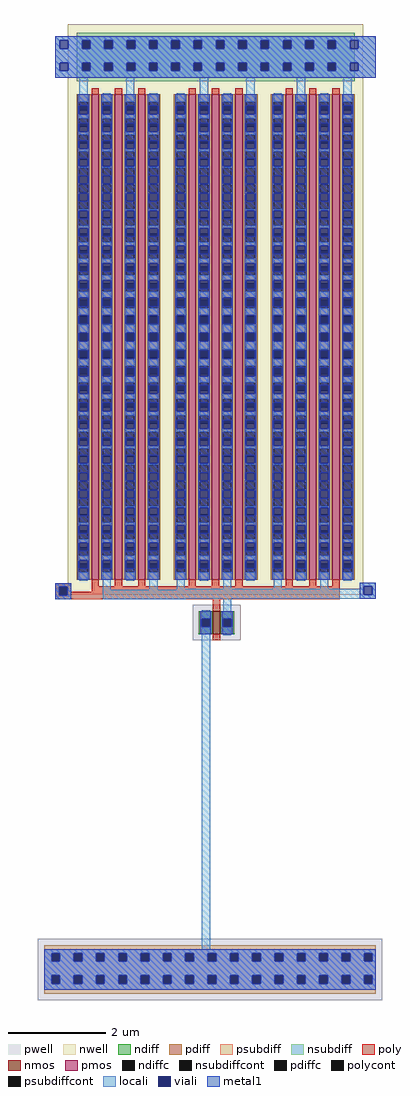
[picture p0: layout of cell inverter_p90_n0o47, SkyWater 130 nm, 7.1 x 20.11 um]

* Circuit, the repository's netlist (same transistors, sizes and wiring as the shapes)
* NGSPICE file created from inverter_p90_n0o47.ext - technology: sky130A

.subckt sky130_fd_pr__pfet_01v8_WGHLR5 a_n111_n1056# a_15_n1000# a_n173_n1000# a_111_n1000#
+ a_n81_n1000# w_n209_n1062#
X0 a_111_n1000# a_n111_n1056# a_15_n1000# w_n209_n1062# sky130_fd_pr__pfet_01v8 ad=3.1 pd=20.62 as=1.65 ps=10.33 w=10 l=0.15
X1 a_n81_n1000# a_n111_n1056# a_n173_n1000# w_n209_n1062# sky130_fd_pr__pfet_01v8 ad=1.65 pd=10.33 as=3.1 ps=20.62 w=10 l=0.15
X2 a_15_n1000# a_n111_n1056# a_n81_n1000# w_n209_n1062# sky130_fd_pr__pfet_01v8 ad=1.65 pd=10.33 as=1.65 ps=10.33 w=10 l=0.15
.ends

.subckt sky130_fd_pr__nfet_01v8_PD6K7A a_n73_n47# a_15_n47# a_n15_n73# VSUBS
X0 a_15_n47# a_n15_n73# a_n73_n47# VSUBS sky130_fd_pr__nfet_01v8 ad=0.1363 pd=1.52 as=0.1363 ps=1.52 w=0.47 l=0.15
.ends

.subckt inverter_p90_n0o47 VDPWR Vout Vin VGND
Xsky130_fd_pr__pfet_01v8_WGHLR5_0 Vin VDPWR VDPWR Vout Vout VDPWR sky130_fd_pr__pfet_01v8_WGHLR5
Xsky130_fd_pr__pfet_01v8_WGHLR5_1 Vin Vout Vout VDPWR VDPWR VDPWR sky130_fd_pr__pfet_01v8_WGHLR5
Xsky130_fd_pr__pfet_01v8_WGHLR5_2 Vin Vout Vout VDPWR VDPWR VDPWR sky130_fd_pr__pfet_01v8_WGHLR5
Xsky130_fd_pr__nfet_01v8_PD6K7A_0 VGND Vout Vin VGND sky130_fd_pr__nfet_01v8_PD6K7A
.ends

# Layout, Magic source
magic
tech sky130A
magscale 1 2
<< nwell >>
rect -540 2312 678 2540
rect -512 2286 648 2312
rect -492 2254 -458 2286
rect -300 2254 -266 2286
rect 4 2254 38 2286
rect 196 2254 230 2286
rect 404 2254 438 2286
rect 596 2254 630 2286
rect -592 198 -576 216
<< pwell >>
rect -664 -1482 756 -1230
<< psubdiff >>
rect -638 -1289 730 -1256
rect -638 -1323 -607 -1289
rect -573 -1323 -515 -1289
rect -481 -1323 -423 -1289
rect -389 -1323 -331 -1289
rect -297 -1323 -239 -1289
rect -205 -1323 -147 -1289
rect -113 -1323 -55 -1289
rect -21 -1323 37 -1289
rect 71 -1323 129 -1289
rect 163 -1323 221 -1289
rect 255 -1323 313 -1289
rect 347 -1323 405 -1289
rect 439 -1323 497 -1289
rect 531 -1323 589 -1289
rect 623 -1323 681 -1289
rect 715 -1323 730 -1289
rect -638 -1381 730 -1323
rect -638 -1415 -607 -1381
rect -573 -1415 -515 -1381
rect -481 -1415 -423 -1381
rect -389 -1415 -331 -1381
rect -297 -1415 -239 -1381
rect -205 -1415 -147 -1381
rect -113 -1415 -55 -1381
rect -21 -1415 37 -1381
rect 71 -1415 129 -1381
rect 163 -1415 221 -1381
rect 255 -1415 313 -1381
rect 347 -1415 405 -1381
rect 439 -1415 497 -1381
rect 531 -1415 589 -1381
rect 623 -1415 681 -1381
rect 715 -1415 730 -1381
rect -638 -1456 730 -1415
<< nsubdiff >>
rect -504 2473 642 2504
rect -504 2439 -481 2473
rect -447 2439 -389 2473
rect -355 2439 -297 2473
rect -263 2439 -205 2473
rect -171 2439 -113 2473
rect -79 2439 -21 2473
rect 13 2439 71 2473
rect 105 2439 163 2473
rect 197 2439 255 2473
rect 289 2439 347 2473
rect 381 2439 439 2473
rect 473 2439 531 2473
rect 565 2439 642 2473
rect -504 2381 642 2439
rect -504 2347 -481 2381
rect -447 2347 -389 2381
rect -355 2347 -297 2381
rect -263 2347 -205 2381
rect -171 2347 -113 2381
rect -79 2347 -21 2381
rect 13 2347 71 2381
rect 105 2347 163 2381
rect 197 2347 255 2381
rect 289 2347 347 2381
rect 381 2347 439 2381
rect 473 2347 531 2381
rect 565 2347 642 2381
rect -504 2304 642 2347
<< psubdiffcont >>
rect -607 -1323 -573 -1289
rect -515 -1323 -481 -1289
rect -423 -1323 -389 -1289
rect -331 -1323 -297 -1289
rect -239 -1323 -205 -1289
rect -147 -1323 -113 -1289
rect -55 -1323 -21 -1289
rect 37 -1323 71 -1289
rect 129 -1323 163 -1289
rect 221 -1323 255 -1289
rect 313 -1323 347 -1289
rect 405 -1323 439 -1289
rect 497 -1323 531 -1289
rect 589 -1323 623 -1289
rect 681 -1323 715 -1289
rect -607 -1415 -573 -1381
rect -515 -1415 -481 -1381
rect -423 -1415 -389 -1381
rect -331 -1415 -297 -1381
rect -239 -1415 -205 -1381
rect -147 -1415 -113 -1381
rect -55 -1415 -21 -1381
rect 37 -1415 71 -1381
rect 129 -1415 163 -1381
rect 221 -1415 255 -1381
rect 313 -1415 347 -1381
rect 405 -1415 439 -1381
rect 497 -1415 531 -1381
rect 589 -1415 623 -1381
rect 681 -1415 715 -1381
<< nsubdiffcont >>
rect -481 2439 -447 2473
rect -389 2439 -355 2473
rect -297 2439 -263 2473
rect -205 2439 -171 2473
rect -113 2439 -79 2473
rect -21 2439 13 2473
rect 71 2439 105 2473
rect 163 2439 197 2473
rect 255 2439 289 2473
rect 347 2439 381 2473
rect 439 2439 473 2473
rect 531 2439 565 2473
rect -481 2347 -447 2381
rect -389 2347 -355 2381
rect -297 2347 -263 2381
rect -205 2347 -171 2381
rect -113 2347 -79 2381
rect -21 2347 13 2381
rect 71 2347 105 2381
rect 163 2347 197 2381
rect 255 2347 289 2381
rect 347 2347 381 2381
rect 439 2347 473 2381
rect 531 2347 565 2381
<< poly >>
rect -592 220 -526 236
rect -592 186 -576 220
rect -542 200 -526 220
rect -542 194 -394 200
rect -220 194 -42 224
rect 180 194 358 224
rect -542 186 580 194
rect -592 170 580 186
rect 58 146 88 170
<< polycont >>
rect -576 186 -542 220
<< locali >>
rect -592 2473 730 2490
rect -592 2439 -573 2473
rect -539 2439 -481 2473
rect -447 2439 -389 2473
rect -355 2439 -297 2473
rect -263 2439 -205 2473
rect -171 2439 -113 2473
rect -79 2439 -21 2473
rect 13 2439 71 2473
rect 105 2439 163 2473
rect 197 2439 255 2473
rect 289 2439 347 2473
rect 381 2439 439 2473
rect 473 2439 531 2473
rect 565 2439 623 2473
rect 657 2439 730 2473
rect -592 2381 730 2439
rect -592 2347 -573 2381
rect -539 2347 -481 2381
rect -447 2347 -389 2381
rect -355 2347 -297 2381
rect -263 2347 -205 2381
rect -171 2347 -113 2381
rect -79 2347 -21 2381
rect 13 2347 71 2381
rect 105 2347 163 2381
rect 197 2347 255 2381
rect 289 2347 347 2381
rect 381 2347 439 2381
rect 473 2347 531 2381
rect 565 2347 623 2381
rect 657 2347 730 2381
rect -592 2318 730 2347
rect -492 2254 -458 2318
rect -300 2254 -266 2318
rect 4 2254 38 2318
rect 196 2254 230 2318
rect 404 2254 438 2318
rect 596 2254 630 2318
rect -592 220 -526 236
rect -592 186 -576 220
rect -542 186 -526 220
rect -592 170 -526 186
rect -396 208 -362 246
rect -204 208 -170 246
rect -92 212 -58 246
rect 100 212 134 246
rect 308 212 342 246
rect 500 212 534 246
rect 664 222 730 238
rect 664 212 680 222
rect -92 208 680 212
rect -396 188 680 208
rect 714 188 730 222
rect -396 172 730 188
rect -396 170 -54 172
rect 100 124 134 172
rect 12 -1272 46 22
rect -638 -1289 730 -1272
rect -638 -1323 -607 -1289
rect -573 -1323 -515 -1289
rect -481 -1323 -423 -1289
rect -389 -1323 -331 -1289
rect -297 -1323 -239 -1289
rect -205 -1323 -147 -1289
rect -113 -1323 -55 -1289
rect -21 -1323 37 -1289
rect 71 -1323 129 -1289
rect 163 -1323 221 -1289
rect 255 -1323 313 -1289
rect 347 -1323 405 -1289
rect 439 -1323 497 -1289
rect 531 -1323 589 -1289
rect 623 -1323 681 -1289
rect 715 -1323 730 -1289
rect -638 -1381 730 -1323
rect -638 -1415 -607 -1381
rect -573 -1415 -515 -1381
rect -481 -1415 -423 -1381
rect -389 -1415 -331 -1381
rect -297 -1415 -239 -1381
rect -205 -1415 -147 -1381
rect -113 -1415 -55 -1381
rect -21 -1415 37 -1381
rect 71 -1415 129 -1381
rect 163 -1415 221 -1381
rect 255 -1415 313 -1381
rect 347 -1415 405 -1381
rect 439 -1415 497 -1381
rect 531 -1415 589 -1381
rect 623 -1415 681 -1381
rect 715 -1415 730 -1381
rect -638 -1440 730 -1415
<< viali >>
rect -573 2439 -539 2473
rect -481 2439 -447 2473
rect -389 2439 -355 2473
rect -297 2439 -263 2473
rect -205 2439 -171 2473
rect -113 2439 -79 2473
rect -21 2439 13 2473
rect 71 2439 105 2473
rect 163 2439 197 2473
rect 255 2439 289 2473
rect 347 2439 381 2473
rect 439 2439 473 2473
rect 531 2439 565 2473
rect 623 2439 657 2473
rect -573 2347 -539 2381
rect -481 2347 -447 2381
rect -389 2347 -355 2381
rect -297 2347 -263 2381
rect -205 2347 -171 2381
rect -113 2347 -79 2381
rect -21 2347 13 2381
rect 71 2347 105 2381
rect 163 2347 197 2381
rect 255 2347 289 2381
rect 347 2347 381 2381
rect 439 2347 473 2381
rect 531 2347 565 2381
rect 623 2347 657 2381
rect -576 186 -542 220
rect 680 188 714 222
rect -607 -1323 -573 -1289
rect -515 -1323 -481 -1289
rect -423 -1323 -389 -1289
rect -331 -1323 -297 -1289
rect -239 -1323 -205 -1289
rect -147 -1323 -113 -1289
rect -55 -1323 -21 -1289
rect 37 -1323 71 -1289
rect 129 -1323 163 -1289
rect 221 -1323 255 -1289
rect 313 -1323 347 -1289
rect 405 -1323 439 -1289
rect 497 -1323 531 -1289
rect 589 -1323 623 -1289
rect 681 -1323 715 -1289
rect -607 -1415 -573 -1381
rect -515 -1415 -481 -1381
rect -423 -1415 -389 -1381
rect -331 -1415 -297 -1381
rect -239 -1415 -205 -1381
rect -147 -1415 -113 -1381
rect -55 -1415 -21 -1381
rect 37 -1415 71 -1381
rect 129 -1415 163 -1381
rect 221 -1415 255 -1381
rect 313 -1415 347 -1381
rect 405 -1415 439 -1381
rect 497 -1415 531 -1381
rect 589 -1415 623 -1381
rect 681 -1415 715 -1381
<< metal1 >>
rect -592 2473 730 2490
rect -592 2439 -573 2473
rect -539 2439 -481 2473
rect -447 2439 -389 2473
rect -355 2439 -297 2473
rect -263 2439 -205 2473
rect -171 2439 -113 2473
rect -79 2439 -21 2473
rect 13 2439 71 2473
rect 105 2439 163 2473
rect 197 2439 255 2473
rect 289 2439 347 2473
rect 381 2439 439 2473
rect 473 2439 531 2473
rect 565 2439 623 2473
rect 657 2439 730 2473
rect -592 2381 730 2439
rect -592 2347 -573 2381
rect -539 2347 -481 2381
rect -447 2347 -389 2381
rect -355 2347 -297 2381
rect -263 2347 -205 2381
rect -171 2347 -113 2381
rect -79 2347 -21 2381
rect 13 2347 71 2381
rect 105 2347 163 2381
rect 197 2347 255 2381
rect 289 2347 347 2381
rect 381 2347 439 2381
rect 473 2347 531 2381
rect 565 2347 623 2381
rect 657 2347 730 2381
rect -592 2318 730 2347
rect -592 220 -526 236
rect -592 186 -576 220
rect -542 186 -526 220
rect -592 170 -526 186
rect 664 222 730 238
rect 664 188 680 222
rect 714 188 730 222
rect 664 172 730 188
rect -638 -1289 730 -1272
rect -638 -1323 -607 -1289
rect -573 -1323 -515 -1289
rect -481 -1323 -423 -1289
rect -389 -1323 -331 -1289
rect -297 -1323 -239 -1289
rect -205 -1323 -147 -1289
rect -113 -1323 -55 -1289
rect -21 -1323 37 -1289
rect 71 -1323 129 -1289
rect 163 -1323 221 -1289
rect 255 -1323 313 -1289
rect 347 -1323 405 -1289
rect 439 -1323 497 -1289
rect 531 -1323 589 -1289
rect 623 -1323 681 -1289
rect 715 -1323 730 -1289
rect -638 -1381 730 -1323
rect -638 -1415 -607 -1381
rect -573 -1415 -515 -1381
rect -481 -1415 -423 -1381
rect -389 -1415 -331 -1381
rect -297 -1415 -239 -1381
rect -205 -1415 -147 -1381
rect -113 -1415 -55 -1381
rect -21 -1415 37 -1381
rect 71 -1415 129 -1381
rect 163 -1415 221 -1381
rect 255 -1415 313 -1381
rect 347 -1415 405 -1381
rect 439 -1415 497 -1381
rect 531 -1415 589 -1381
rect 623 -1415 681 -1381
rect 715 -1415 730 -1381
rect -638 -1440 730 -1415
use sky130_fd_pr__nfet_01v8_PD6K7A  sky130_fd_pr__nfet_01v8_PD6K7A_0
transform 1 0 73 0 1 73
box -99 -73 99 73
use sky130_fd_pr__pfet_01v8_WGHLR5  sky130_fd_pr__pfet_01v8_WGHLR5_0
transform 1 0 -331 0 1 1250
box -209 -1062 209 1062
use sky130_fd_pr__pfet_01v8_WGHLR5  sky130_fd_pr__pfet_01v8_WGHLR5_1
transform 1 0 69 0 1 1250
box -209 -1062 209 1062
use sky130_fd_pr__pfet_01v8_WGHLR5  sky130_fd_pr__pfet_01v8_WGHLR5_2
transform 1 0 469 0 1 1250
box -209 -1062 209 1062
<< end >>

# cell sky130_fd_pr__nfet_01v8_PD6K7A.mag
magic
tech sky130A
magscale 1 2
<< pwell >>
rect -99 -73 99 73
<< nmos >>
rect -15 -47 15 47
<< ndiff >>
rect -73 17 -15 47
rect -73 -17 -61 17
rect -27 -17 -15 17
rect -73 -47 -15 -17
rect 15 17 73 47
rect 15 -17 27 17
rect 61 -17 73 17
rect 15 -47 73 -17
<< ndiffc >>
rect -61 -17 -27 17
rect 27 -17 61 17
<< poly >>
rect -15 47 15 73
rect -15 -73 15 -47
<< locali >>
rect -61 17 -27 51
rect -61 -51 -27 -17
rect 27 17 61 51
rect 27 -51 61 -17
<< viali >>
rect -61 -17 -27 17
rect 27 -17 61 17
<< metal1 >>
rect -67 17 -21 47
rect -67 -17 -61 17
rect -27 -17 -21 17
rect -67 -47 -21 -17
rect 21 17 67 47
rect 21 -17 27 17
rect 61 -17 67 17
rect 21 -47 67 -17
<< end >>

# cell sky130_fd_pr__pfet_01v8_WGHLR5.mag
magic
tech sky130A
magscale 1 2
<< nwell >>
rect -209 -1062 209 1062
<< pmos >>
rect -111 -1000 -81 1000
rect -15 -1000 15 1000
rect 81 -1000 111 1000
<< pdiff >>
rect -173 969 -111 1000
rect -173 935 -161 969
rect -127 935 -111 969
rect -173 901 -111 935
rect -173 867 -161 901
rect -127 867 -111 901
rect -173 833 -111 867
rect -173 799 -161 833
rect -127 799 -111 833
rect -173 765 -111 799
rect -173 731 -161 765
rect -127 731 -111 765
rect -173 697 -111 731
rect -173 663 -161 697
rect -127 663 -111 697
rect -173 629 -111 663
rect -173 595 -161 629
rect -127 595 -111 629
rect -173 561 -111 595
rect -173 527 -161 561
rect -127 527 -111 561
rect -173 493 -111 527
rect -173 459 -161 493
rect -127 459 -111 493
rect -173 425 -111 459
rect -173 391 -161 425
rect -127 391 -111 425
rect -173 357 -111 391
rect -173 323 -161 357
rect -127 323 -111 357
rect -173 289 -111 323
rect -173 255 -161 289
rect -127 255 -111 289
rect -173 221 -111 255
rect -173 187 -161 221
rect -127 187 -111 221
rect -173 153 -111 187
rect -173 119 -161 153
rect -127 119 -111 153
rect -173 85 -111 119
rect -173 51 -161 85
rect -127 51 -111 85
rect -173 17 -111 51
rect -173 -17 -161 17
rect -127 -17 -111 17
rect -173 -51 -111 -17
rect -173 -85 -161 -51
rect -127 -85 -111 -51
rect -173 -119 -111 -85
rect -173 -153 -161 -119
rect -127 -153 -111 -119
rect -173 -187 -111 -153
rect -173 -221 -161 -187
rect -127 -221 -111 -187
rect -173 -255 -111 -221
rect -173 -289 -161 -255
rect -127 -289 -111 -255
rect -173 -323 -111 -289
rect -173 -357 -161 -323
rect -127 -357 -111 -323
rect -173 -391 -111 -357
rect -173 -425 -161 -391
rect -127 -425 -111 -391
rect -173 -459 -111 -425
rect -173 -493 -161 -459
rect -127 -493 -111 -459
rect -173 -527 -111 -493
rect -173 -561 -161 -527
rect -127 -561 -111 -527
rect -173 -595 -111 -561
rect -173 -629 -161 -595
rect -127 -629 -111 -595
rect -173 -663 -111 -629
rect -173 -697 -161 -663
rect -127 -697 -111 -663
rect -173 -731 -111 -697
rect -173 -765 -161 -731
rect -127 -765 -111 -731
rect -173 -799 -111 -765
rect -173 -833 -161 -799
rect -127 -833 -111 -799
rect -173 -867 -111 -833
rect -173 -901 -161 -867
rect -127 -901 -111 -867
rect -173 -935 -111 -901
rect -173 -969 -161 -935
rect -127 -969 -111 -935
rect -173 -1000 -111 -969
rect -81 969 -15 1000
rect -81 935 -65 969
rect -31 935 -15 969
rect -81 901 -15 935
rect -81 867 -65 901
rect -31 867 -15 901
rect -81 833 -15 867
rect -81 799 -65 833
rect -31 799 -15 833
rect -81 765 -15 799
rect -81 731 -65 765
rect -31 731 -15 765
rect -81 697 -15 731
rect -81 663 -65 697
rect -31 663 -15 697
rect -81 629 -15 663
rect -81 595 -65 629
rect -31 595 -15 629
rect -81 561 -15 595
rect -81 527 -65 561
rect -31 527 -15 561
rect -81 493 -15 527
rect -81 459 -65 493
rect -31 459 -15 493
rect -81 425 -15 459
rect -81 391 -65 425
rect -31 391 -15 425
rect -81 357 -15 391
rect -81 323 -65 357
rect -31 323 -15 357
rect -81 289 -15 323
rect -81 255 -65 289
rect -31 255 -15 289
rect -81 221 -15 255
rect -81 187 -65 221
rect -31 187 -15 221
rect -81 153 -15 187
rect -81 119 -65 153
rect -31 119 -15 153
rect -81 85 -15 119
rect -81 51 -65 85
rect -31 51 -15 85
rect -81 17 -15 51
rect -81 -17 -65 17
rect -31 -17 -15 17
rect -81 -51 -15 -17
rect -81 -85 -65 -51
rect -31 -85 -15 -51
rect -81 -119 -15 -85
rect -81 -153 -65 -119
rect -31 -153 -15 -119
rect -81 -187 -15 -153
rect -81 -221 -65 -187
rect -31 -221 -15 -187
rect -81 -255 -15 -221
rect -81 -289 -65 -255
rect -31 -289 -15 -255
rect -81 -323 -15 -289
rect -81 -357 -65 -323
rect -31 -357 -15 -323
rect -81 -391 -15 -357
rect -81 -425 -65 -391
rect -31 -425 -15 -391
rect -81 -459 -15 -425
rect -81 -493 -65 -459
rect -31 -493 -15 -459
rect -81 -527 -15 -493
rect -81 -561 -65 -527
rect -31 -561 -15 -527
rect -81 -595 -15 -561
rect -81 -629 -65 -595
rect -31 -629 -15 -595
rect -81 -663 -15 -629
rect -81 -697 -65 -663
rect -31 -697 -15 -663
rect -81 -731 -15 -697
rect -81 -765 -65 -731
rect -31 -765 -15 -731
rect -81 -799 -15 -765
rect -81 -833 -65 -799
rect -31 -833 -15 -799
rect -81 -867 -15 -833
rect -81 -901 -65 -867
rect -31 -901 -15 -867
rect -81 -935 -15 -901
rect -81 -969 -65 -935
rect -31 -969 -15 -935
rect -81 -1000 -15 -969
rect 15 969 81 1000
rect 15 935 31 969
rect 65 935 81 969
rect 15 901 81 935
rect 15 867 31 901
rect 65 867 81 901
rect 15 833 81 867
rect 15 799 31 833
rect 65 799 81 833
rect 15 765 81 799
rect 15 731 31 765
rect 65 731 81 765
rect 15 697 81 731
rect 15 663 31 697
rect 65 663 81 697
rect 15 629 81 663
rect 15 595 31 629
rect 65 595 81 629
rect 15 561 81 595
rect 15 527 31 561
rect 65 527 81 561
rect 15 493 81 527
rect 15 459 31 493
rect 65 459 81 493
rect 15 425 81 459
rect 15 391 31 425
rect 65 391 81 425
rect 15 357 81 391
rect 15 323 31 357
rect 65 323 81 357
rect 15 289 81 323
rect 15 255 31 289
rect 65 255 81 289
rect 15 221 81 255
rect 15 187 31 221
rect 65 187 81 221
rect 15 153 81 187
rect 15 119 31 153
rect 65 119 81 153
rect 15 85 81 119
rect 15 51 31 85
rect 65 51 81 85
rect 15 17 81 51
rect 15 -17 31 17
rect 65 -17 81 17
rect 15 -51 81 -17
rect 15 -85 31 -51
rect 65 -85 81 -51
rect 15 -119 81 -85
rect 15 -153 31 -119
rect 65 -153 81 -119
rect 15 -187 81 -153
rect 15 -221 31 -187
rect 65 -221 81 -187
rect 15 -255 81 -221
rect 15 -289 31 -255
rect 65 -289 81 -255
rect 15 -323 81 -289
rect 15 -357 31 -323
rect 65 -357 81 -323
rect 15 -391 81 -357
rect 15 -425 31 -391
rect 65 -425 81 -391
rect 15 -459 81 -425
rect 15 -493 31 -459
rect 65 -493 81 -459
rect 15 -527 81 -493
rect 15 -561 31 -527
rect 65 -561 81 -527
rect 15 -595 81 -561
rect 15 -629 31 -595
rect 65 -629 81 -595
rect 15 -663 81 -629
rect 15 -697 31 -663
rect 65 -697 81 -663
rect 15 -731 81 -697
rect 15 -765 31 -731
rect 65 -765 81 -731
rect 15 -799 81 -765
rect 15 -833 31 -799
rect 65 -833 81 -799
rect 15 -867 81 -833
rect 15 -901 31 -867
rect 65 -901 81 -867
rect 15 -935 81 -901
rect 15 -969 31 -935
rect 65 -969 81 -935
rect 15 -1000 81 -969
rect 111 969 173 1000
rect 111 935 127 969
rect 161 935 173 969
rect 111 901 173 935
rect 111 867 127 901
rect 161 867 173 901
rect 111 833 173 867
rect 111 799 127 833
rect 161 799 173 833
rect 111 765 173 799
rect 111 731 127 765
rect 161 731 173 765
rect 111 697 173 731
rect 111 663 127 697
rect 161 663 173 697
rect 111 629 173 663
rect 111 595 127 629
rect 161 595 173 629
rect 111 561 173 595
rect 111 527 127 561
rect 161 527 173 561
rect 111 493 173 527
rect 111 459 127 493
rect 161 459 173 493
rect 111 425 173 459
rect 111 391 127 425
rect 161 391 173 425
rect 111 357 173 391
rect 111 323 127 357
rect 161 323 173 357
rect 111 289 173 323
rect 111 255 127 289
rect 161 255 173 289
rect 111 221 173 255
rect 111 187 127 221
rect 161 187 173 221
rect 111 153 173 187
rect 111 119 127 153
rect 161 119 173 153
rect 111 85 173 119
rect 111 51 127 85
rect 161 51 173 85
rect 111 17 173 51
rect 111 -17 127 17
rect 161 -17 173 17
rect 111 -51 173 -17
rect 111 -85 127 -51
rect 161 -85 173 -51
rect 111 -119 173 -85
rect 111 -153 127 -119
rect 161 -153 173 -119
rect 111 -187 173 -153
rect 111 -221 127 -187
rect 161 -221 173 -187
rect 111 -255 173 -221
rect 111 -289 127 -255
rect 161 -289 173 -255
rect 111 -323 173 -289
rect 111 -357 127 -323
rect 161 -357 173 -323
rect 111 -391 173 -357
rect 111 -425 127 -391
rect 161 -425 173 -391
rect 111 -459 173 -425
rect 111 -493 127 -459
rect 161 -493 173 -459
rect 111 -527 173 -493
rect 111 -561 127 -527
rect 161 -561 173 -527
rect 111 -595 173 -561
rect 111 -629 127 -595
rect 161 -629 173 -595
rect 111 -663 173 -629
rect 111 -697 127 -663
rect 161 -697 173 -663
rect 111 -731 173 -697
rect 111 -765 127 -731
rect 161 -765 173 -731
rect 111 -799 173 -765
rect 111 -833 127 -799
rect 161 -833 173 -799
rect 111 -867 173 -833
rect 111 -901 127 -867
rect 161 -901 173 -867
rect 111 -935 173 -901
rect 111 -969 127 -935
rect 161 -969 173 -935
rect 111 -1000 173 -969
<< pdiffc >>
rect -161 935 -127 969
rect -161 867 -127 901
rect -161 799 -127 833
rect -161 731 -127 765
rect -161 663 -127 697
rect -161 595 -127 629
rect -161 527 -127 561
rect -161 459 -127 493
rect -161 391 -127 425
rect -161 323 -127 357
rect -161 255 -127 289
rect -161 187 -127 221
rect -161 119 -127 153
rect -161 51 -127 85
rect -161 -17 -127 17
rect -161 -85 -127 -51
rect -161 -153 -127 -119
rect -161 -221 -127 -187
rect -161 -289 -127 -255
rect -161 -357 -127 -323
rect -161 -425 -127 -391
rect -161 -493 -127 -459
rect -161 -561 -127 -527
rect -161 -629 -127 -595
rect -161 -697 -127 -663
rect -161 -765 -127 -731
rect -161 -833 -127 -799
rect -161 -901 -127 -867
rect -161 -969 -127 -935
rect -65 935 -31 969
rect -65 867 -31 901
rect -65 799 -31 833
rect -65 731 -31 765
rect -65 663 -31 697
rect -65 595 -31 629
rect -65 527 -31 561
rect -65 459 -31 493
rect -65 391 -31 425
rect -65 323 -31 357
rect -65 255 -31 289
rect -65 187 -31 221
rect -65 119 -31 153
rect -65 51 -31 85
rect -65 -17 -31 17
rect -65 -85 -31 -51
rect -65 -153 -31 -119
rect -65 -221 -31 -187
rect -65 -289 -31 -255
rect -65 -357 -31 -323
rect -65 -425 -31 -391
rect -65 -493 -31 -459
rect -65 -561 -31 -527
rect -65 -629 -31 -595
rect -65 -697 -31 -663
rect -65 -765 -31 -731
rect -65 -833 -31 -799
rect -65 -901 -31 -867
rect -65 -969 -31 -935
rect 31 935 65 969
rect 31 867 65 901
rect 31 799 65 833
rect 31 731 65 765
rect 31 663 65 697
rect 31 595 65 629
rect 31 527 65 561
rect 31 459 65 493
rect 31 391 65 425
rect 31 323 65 357
rect 31 255 65 289
rect 31 187 65 221
rect 31 119 65 153
rect 31 51 65 85
rect 31 -17 65 17
rect 31 -85 65 -51
rect 31 -153 65 -119
rect 31 -221 65 -187
rect 31 -289 65 -255
rect 31 -357 65 -323
rect 31 -425 65 -391
rect 31 -493 65 -459
rect 31 -561 65 -527
rect 31 -629 65 -595
rect 31 -697 65 -663
rect 31 -765 65 -731
rect 31 -833 65 -799
rect 31 -901 65 -867
rect 31 -969 65 -935
rect 127 935 161 969
rect 127 867 161 901
rect 127 799 161 833
rect 127 731 161 765
rect 127 663 161 697
rect 127 595 161 629
rect 127 527 161 561
rect 127 459 161 493
rect 127 391 161 425
rect 127 323 161 357
rect 127 255 161 289
rect 127 187 161 221
rect 127 119 161 153
rect 127 51 161 85
rect 127 -17 161 17
rect 127 -85 161 -51
rect 127 -153 161 -119
rect 127 -221 161 -187
rect 127 -289 161 -255
rect 127 -357 161 -323
rect 127 -425 161 -391
rect 127 -493 161 -459
rect 127 -561 161 -527
rect 127 -629 161 -595
rect 127 -697 161 -663
rect 127 -765 161 -731
rect 127 -833 161 -799
rect 127 -901 161 -867
rect 127 -969 161 -935
<< poly >>
rect -111 1000 -81 1026
rect -15 1000 15 1026
rect 81 1000 111 1026
rect -111 -1026 -81 -1000
rect -15 -1026 15 -1000
rect 81 -1026 111 -1000
rect -111 -1056 111 -1026
<< locali >>
rect -161 969 -127 1004
rect -161 901 -127 919
rect -161 833 -127 847
rect -161 765 -127 775
rect -161 697 -127 703
rect -161 629 -127 631
rect -161 593 -127 595
rect -161 521 -127 527
rect -161 449 -127 459
rect -161 377 -127 391
rect -161 305 -127 323
rect -161 233 -127 255
rect -161 161 -127 187
rect -161 89 -127 119
rect -161 17 -127 51
rect -161 -51 -127 -17
rect -161 -119 -127 -89
rect -161 -187 -127 -161
rect -161 -255 -127 -233
rect -161 -323 -127 -305
rect -161 -391 -127 -377
rect -161 -459 -127 -449
rect -161 -527 -127 -521
rect -161 -595 -127 -593
rect -161 -631 -127 -629
rect -161 -703 -127 -697
rect -161 -775 -127 -765
rect -161 -847 -127 -833
rect -161 -919 -127 -901
rect -161 -1004 -127 -969
rect -65 969 -31 1004
rect -65 901 -31 919
rect -65 833 -31 847
rect -65 765 -31 775
rect -65 697 -31 703
rect -65 629 -31 631
rect -65 593 -31 595
rect -65 521 -31 527
rect -65 449 -31 459
rect -65 377 -31 391
rect -65 305 -31 323
rect -65 233 -31 255
rect -65 161 -31 187
rect -65 89 -31 119
rect -65 17 -31 51
rect -65 -51 -31 -17
rect -65 -119 -31 -89
rect -65 -187 -31 -161
rect -65 -255 -31 -233
rect -65 -323 -31 -305
rect -65 -391 -31 -377
rect -65 -459 -31 -449
rect -65 -527 -31 -521
rect -65 -595 -31 -593
rect -65 -631 -31 -629
rect -65 -703 -31 -697
rect -65 -775 -31 -765
rect -65 -847 -31 -833
rect -65 -919 -31 -901
rect -65 -1004 -31 -969
rect 31 969 65 1004
rect 31 901 65 919
rect 31 833 65 847
rect 31 765 65 775
rect 31 697 65 703
rect 31 629 65 631
rect 31 593 65 595
rect 31 521 65 527
rect 31 449 65 459
rect 31 377 65 391
rect 31 305 65 323
rect 31 233 65 255
rect 31 161 65 187
rect 31 89 65 119
rect 31 17 65 51
rect 31 -51 65 -17
rect 31 -119 65 -89
rect 31 -187 65 -161
rect 31 -255 65 -233
rect 31 -323 65 -305
rect 31 -391 65 -377
rect 31 -459 65 -449
rect 31 -527 65 -521
rect 31 -595 65 -593
rect 31 -631 65 -629
rect 31 -703 65 -697
rect 31 -775 65 -765
rect 31 -847 65 -833
rect 31 -919 65 -901
rect 31 -1004 65 -969
rect 127 969 161 1004
rect 127 901 161 919
rect 127 833 161 847
rect 127 765 161 775
rect 127 697 161 703
rect 127 629 161 631
rect 127 593 161 595
rect 127 521 161 527
rect 127 449 161 459
rect 127 377 161 391
rect 127 305 161 323
rect 127 233 161 255
rect 127 161 161 187
rect 127 89 161 119
rect 127 17 161 51
rect 127 -51 161 -17
rect 127 -119 161 -89
rect 127 -187 161 -161
rect 127 -255 161 -233
rect 127 -323 161 -305
rect 127 -391 161 -377
rect 127 -459 161 -449
rect 127 -527 161 -521
rect 127 -595 161 -593
rect 127 -631 161 -629
rect 127 -703 161 -697
rect 127 -775 161 -765
rect 127 -847 161 -833
rect 127 -919 161 -901
rect 127 -1004 161 -969
<< viali >>
rect -161 935 -127 953
rect -161 919 -127 935
rect -161 867 -127 881
rect -161 847 -127 867
rect -161 799 -127 809
rect -161 775 -127 799
rect -161 731 -127 737
rect -161 703 -127 731
rect -161 663 -127 665
rect -161 631 -127 663
rect -161 561 -127 593
rect -161 559 -127 561
rect -161 493 -127 521
rect -161 487 -127 493
rect -161 425 -127 449
rect -161 415 -127 425
rect -161 357 -127 377
rect -161 343 -127 357
rect -161 289 -127 305
rect -161 271 -127 289
rect -161 221 -127 233
rect -161 199 -127 221
rect -161 153 -127 161
rect -161 127 -127 153
rect -161 85 -127 89
rect -161 55 -127 85
rect -161 -17 -127 17
rect -161 -85 -127 -55
rect -161 -89 -127 -85
rect -161 -153 -127 -127
rect -161 -161 -127 -153
rect -161 -221 -127 -199
rect -161 -233 -127 -221
rect -161 -289 -127 -271
rect -161 -305 -127 -289
rect -161 -357 -127 -343
rect -161 -377 -127 -357
rect -161 -425 -127 -415
rect -161 -449 -127 -425
rect -161 -493 -127 -487
rect -161 -521 -127 -493
rect -161 -561 -127 -559
rect -161 -593 -127 -561
rect -161 -663 -127 -631
rect -161 -665 -127 -663
rect -161 -731 -127 -703
rect -161 -737 -127 -731
rect -161 -799 -127 -775
rect -161 -809 -127 -799
rect -161 -867 -127 -847
rect -161 -881 -127 -867
rect -161 -935 -127 -919
rect -161 -953 -127 -935
rect -65 935 -31 953
rect -65 919 -31 935
rect -65 867 -31 881
rect -65 847 -31 867
rect -65 799 -31 809
rect -65 775 -31 799
rect -65 731 -31 737
rect -65 703 -31 731
rect -65 663 -31 665
rect -65 631 -31 663
rect -65 561 -31 593
rect -65 559 -31 561
rect -65 493 -31 521
rect -65 487 -31 493
rect -65 425 -31 449
rect -65 415 -31 425
rect -65 357 -31 377
rect -65 343 -31 357
rect -65 289 -31 305
rect -65 271 -31 289
rect -65 221 -31 233
rect -65 199 -31 221
rect -65 153 -31 161
rect -65 127 -31 153
rect -65 85 -31 89
rect -65 55 -31 85
rect -65 -17 -31 17
rect -65 -85 -31 -55
rect -65 -89 -31 -85
rect -65 -153 -31 -127
rect -65 -161 -31 -153
rect -65 -221 -31 -199
rect -65 -233 -31 -221
rect -65 -289 -31 -271
rect -65 -305 -31 -289
rect -65 -357 -31 -343
rect -65 -377 -31 -357
rect -65 -425 -31 -415
rect -65 -449 -31 -425
rect -65 -493 -31 -487
rect -65 -521 -31 -493
rect -65 -561 -31 -559
rect -65 -593 -31 -561
rect -65 -663 -31 -631
rect -65 -665 -31 -663
rect -65 -731 -31 -703
rect -65 -737 -31 -731
rect -65 -799 -31 -775
rect -65 -809 -31 -799
rect -65 -867 -31 -847
rect -65 -881 -31 -867
rect -65 -935 -31 -919
rect -65 -953 -31 -935
rect 31 935 65 953
rect 31 919 65 935
rect 31 867 65 881
rect 31 847 65 867
rect 31 799 65 809
rect 31 775 65 799
rect 31 731 65 737
rect 31 703 65 731
rect 31 663 65 665
rect 31 631 65 663
rect 31 561 65 593
rect 31 559 65 561
rect 31 493 65 521
rect 31 487 65 493
rect 31 425 65 449
rect 31 415 65 425
rect 31 357 65 377
rect 31 343 65 357
rect 31 289 65 305
rect 31 271 65 289
rect 31 221 65 233
rect 31 199 65 221
rect 31 153 65 161
rect 31 127 65 153
rect 31 85 65 89
rect 31 55 65 85
rect 31 -17 65 17
rect 31 -85 65 -55
rect 31 -89 65 -85
rect 31 -153 65 -127
rect 31 -161 65 -153
rect 31 -221 65 -199
rect 31 -233 65 -221
rect 31 -289 65 -271
rect 31 -305 65 -289
rect 31 -357 65 -343
rect 31 -377 65 -357
rect 31 -425 65 -415
rect 31 -449 65 -425
rect 31 -493 65 -487
rect 31 -521 65 -493
rect 31 -561 65 -559
rect 31 -593 65 -561
rect 31 -663 65 -631
rect 31 -665 65 -663
rect 31 -731 65 -703
rect 31 -737 65 -731
rect 31 -799 65 -775
rect 31 -809 65 -799
rect 31 -867 65 -847
rect 31 -881 65 -867
rect 31 -935 65 -919
rect 31 -953 65 -935
rect 127 935 161 953
rect 127 919 161 935
rect 127 867 161 881
rect 127 847 161 867
rect 127 799 161 809
rect 127 775 161 799
rect 127 731 161 737
rect 127 703 161 731
rect 127 663 161 665
rect 127 631 161 663
rect 127 561 161 593
rect 127 559 161 561
rect 127 493 161 521
rect 127 487 161 493
rect 127 425 161 449
rect 127 415 161 425
rect 127 357 161 377
rect 127 343 161 357
rect 127 289 161 305
rect 127 271 161 289
rect 127 221 161 233
rect 127 199 161 221
rect 127 153 161 161
rect 127 127 161 153
rect 127 85 161 89
rect 127 55 161 85
rect 127 -17 161 17
rect 127 -85 161 -55
rect 127 -89 161 -85
rect 127 -153 161 -127
rect 127 -161 161 -153
rect 127 -221 161 -199
rect 127 -233 161 -221
rect 127 -289 161 -271
rect 127 -305 161 -289
rect 127 -357 161 -343
rect 127 -377 161 -357
rect 127 -425 161 -415
rect 127 -449 161 -425
rect 127 -493 161 -487
rect 127 -521 161 -493
rect 127 -561 161 -559
rect 127 -593 161 -561
rect 127 -663 161 -631
rect 127 -665 161 -663
rect 127 -731 161 -703
rect 127 -737 161 -731
rect 127 -799 161 -775
rect 127 -809 161 -799
rect 127 -867 161 -847
rect 127 -881 161 -867
rect 127 -935 161 -919
rect 127 -953 161 -935
<< metal1 >>
rect -167 953 -121 1000
rect -167 919 -161 953
rect -127 919 -121 953
rect -167 881 -121 919
rect -167 847 -161 881
rect -127 847 -121 881
rect -167 809 -121 847
rect -167 775 -161 809
rect -127 775 -121 809
rect -167 737 -121 775
rect -167 703 -161 737
rect -127 703 -121 737
rect -167 665 -121 703
rect -167 631 -161 665
rect -127 631 -121 665
rect -167 593 -121 631
rect -167 559 -161 593
rect -127 559 -121 593
rect -167 521 -121 559
rect -167 487 -161 521
rect -127 487 -121 521
rect -167 449 -121 487
rect -167 415 -161 449
rect -127 415 -121 449
rect -167 377 -121 415
rect -167 343 -161 377
rect -127 343 -121 377
rect -167 305 -121 343
rect -167 271 -161 305
rect -127 271 -121 305
rect -167 233 -121 271
rect -167 199 -161 233
rect -127 199 -121 233
rect -167 161 -121 199
rect -167 127 -161 161
rect -127 127 -121 161
rect -167 89 -121 127
rect -167 55 -161 89
rect -127 55 -121 89
rect -167 17 -121 55
rect -167 -17 -161 17
rect -127 -17 -121 17
rect -167 -55 -121 -17
rect -167 -89 -161 -55
rect -127 -89 -121 -55
rect -167 -127 -121 -89
rect -167 -161 -161 -127
rect -127 -161 -121 -127
rect -167 -199 -121 -161
rect -167 -233 -161 -199
rect -127 -233 -121 -199
rect -167 -271 -121 -233
rect -167 -305 -161 -271
rect -127 -305 -121 -271
rect -167 -343 -121 -305
rect -167 -377 -161 -343
rect -127 -377 -121 -343
rect -167 -415 -121 -377
rect -167 -449 -161 -415
rect -127 -449 -121 -415
rect -167 -487 -121 -449
rect -167 -521 -161 -487
rect -127 -521 -121 -487
rect -167 -559 -121 -521
rect -167 -593 -161 -559
rect -127 -593 -121 -559
rect -167 -631 -121 -593
rect -167 -665 -161 -631
rect -127 -665 -121 -631
rect -167 -703 -121 -665
rect -167 -737 -161 -703
rect -127 -737 -121 -703
rect -167 -775 -121 -737
rect -167 -809 -161 -775
rect -127 -809 -121 -775
rect -167 -847 -121 -809
rect -167 -881 -161 -847
rect -127 -881 -121 -847
rect -167 -919 -121 -881
rect -167 -953 -161 -919
rect -127 -953 -121 -919
rect -167 -1000 -121 -953
rect -71 953 -25 1000
rect -71 919 -65 953
rect -31 919 -25 953
rect -71 881 -25 919
rect -71 847 -65 881
rect -31 847 -25 881
rect -71 809 -25 847
rect -71 775 -65 809
rect -31 775 -25 809
rect -71 737 -25 775
rect -71 703 -65 737
rect -31 703 -25 737
rect -71 665 -25 703
rect -71 631 -65 665
rect -31 631 -25 665
rect -71 593 -25 631
rect -71 559 -65 593
rect -31 559 -25 593
rect -71 521 -25 559
rect -71 487 -65 521
rect -31 487 -25 521
rect -71 449 -25 487
rect -71 415 -65 449
rect -31 415 -25 449
rect -71 377 -25 415
rect -71 343 -65 377
rect -31 343 -25 377
rect -71 305 -25 343
rect -71 271 -65 305
rect -31 271 -25 305
rect -71 233 -25 271
rect -71 199 -65 233
rect -31 199 -25 233
rect -71 161 -25 199
rect -71 127 -65 161
rect -31 127 -25 161
rect -71 89 -25 127
rect -71 55 -65 89
rect -31 55 -25 89
rect -71 17 -25 55
rect -71 -17 -65 17
rect -31 -17 -25 17
rect -71 -55 -25 -17
rect -71 -89 -65 -55
rect -31 -89 -25 -55
rect -71 -127 -25 -89
rect -71 -161 -65 -127
rect -31 -161 -25 -127
rect -71 -199 -25 -161
rect -71 -233 -65 -199
rect -31 -233 -25 -199
rect -71 -271 -25 -233
rect -71 -305 -65 -271
rect -31 -305 -25 -271
rect -71 -343 -25 -305
rect -71 -377 -65 -343
rect -31 -377 -25 -343
rect -71 -415 -25 -377
rect -71 -449 -65 -415
rect -31 -449 -25 -415
rect -71 -487 -25 -449
rect -71 -521 -65 -487
rect -31 -521 -25 -487
rect -71 -559 -25 -521
rect -71 -593 -65 -559
rect -31 -593 -25 -559
rect -71 -631 -25 -593
rect -71 -665 -65 -631
rect -31 -665 -25 -631
rect -71 -703 -25 -665
rect -71 -737 -65 -703
rect -31 -737 -25 -703
rect -71 -775 -25 -737
rect -71 -809 -65 -775
rect -31 -809 -25 -775
rect -71 -847 -25 -809
rect -71 -881 -65 -847
rect -31 -881 -25 -847
rect -71 -919 -25 -881
rect -71 -953 -65 -919
rect -31 -953 -25 -919
rect -71 -1000 -25 -953
rect 25 953 71 1000
rect 25 919 31 953
rect 65 919 71 953
rect 25 881 71 919
rect 25 847 31 881
rect 65 847 71 881
rect 25 809 71 847
rect 25 775 31 809
rect 65 775 71 809
rect 25 737 71 775
rect 25 703 31 737
rect 65 703 71 737
rect 25 665 71 703
rect 25 631 31 665
rect 65 631 71 665
rect 25 593 71 631
rect 25 559 31 593
rect 65 559 71 593
rect 25 521 71 559
rect 25 487 31 521
rect 65 487 71 521
rect 25 449 71 487
rect 25 415 31 449
rect 65 415 71 449
rect 25 377 71 415
rect 25 343 31 377
rect 65 343 71 377
rect 25 305 71 343
rect 25 271 31 305
rect 65 271 71 305
rect 25 233 71 271
rect 25 199 31 233
rect 65 199 71 233
rect 25 161 71 199
rect 25 127 31 161
rect 65 127 71 161
rect 25 89 71 127
rect 25 55 31 89
rect 65 55 71 89
rect 25 17 71 55
rect 25 -17 31 17
rect 65 -17 71 17
rect 25 -55 71 -17
rect 25 -89 31 -55
rect 65 -89 71 -55
rect 25 -127 71 -89
rect 25 -161 31 -127
rect 65 -161 71 -127
rect 25 -199 71 -161
rect 25 -233 31 -199
rect 65 -233 71 -199
rect 25 -271 71 -233
rect 25 -305 31 -271
rect 65 -305 71 -271
rect 25 -343 71 -305
rect 25 -377 31 -343
rect 65 -377 71 -343
rect 25 -415 71 -377
rect 25 -449 31 -415
rect 65 -449 71 -415
rect 25 -487 71 -449
rect 25 -521 31 -487
rect 65 -521 71 -487
rect 25 -559 71 -521
rect 25 -593 31 -559
rect 65 -593 71 -559
rect 25 -631 71 -593
rect 25 -665 31 -631
rect 65 -665 71 -631
rect 25 -703 71 -665
rect 25 -737 31 -703
rect 65 -737 71 -703
rect 25 -775 71 -737
rect 25 -809 31 -775
rect 65 -809 71 -775
rect 25 -847 71 -809
rect 25 -881 31 -847
rect 65 -881 71 -847
rect 25 -919 71 -881
rect 25 -953 31 -919
rect 65 -953 71 -919
rect 25 -1000 71 -953
rect 121 953 167 1000
rect 121 919 127 953
rect 161 919 167 953
rect 121 881 167 919
rect 121 847 127 881
rect 161 847 167 881
rect 121 809 167 847
rect 121 775 127 809
rect 161 775 167 809
rect 121 737 167 775
rect 121 703 127 737
rect 161 703 167 737
rect 121 665 167 703
rect 121 631 127 665
rect 161 631 167 665
rect 121 593 167 631
rect 121 559 127 593
rect 161 559 167 593
rect 121 521 167 559
rect 121 487 127 521
rect 161 487 167 521
rect 121 449 167 487
rect 121 415 127 449
rect 161 415 167 449
rect 121 377 167 415
rect 121 343 127 377
rect 161 343 167 377
rect 121 305 167 343
rect 121 271 127 305
rect 161 271 167 305
rect 121 233 167 271
rect 121 199 127 233
rect 161 199 167 233
rect 121 161 167 199
rect 121 127 127 161
rect 161 127 167 161
rect 121 89 167 127
rect 121 55 127 89
rect 161 55 167 89
rect 121 17 167 55
rect 121 -17 127 17
rect 161 -17 167 17
rect 121 -55 167 -17
rect 121 -89 127 -55
rect 161 -89 167 -55
rect 121 -127 167 -89
rect 121 -161 127 -127
rect 161 -161 167 -127
rect 121 -199 167 -161
rect 121 -233 127 -199
rect 161 -233 167 -199
rect 121 -271 167 -233
rect 121 -305 127 -271
rect 161 -305 167 -271
rect 121 -343 167 -305
rect 121 -377 127 -343
rect 161 -377 167 -343
rect 121 -415 167 -377
rect 121 -449 127 -415
rect 161 -449 167 -415
rect 121 -487 167 -449
rect 121 -521 127 -487
rect 161 -521 167 -487
rect 121 -559 167 -521
rect 121 -593 127 -559
rect 161 -593 167 -559
rect 121 -631 167 -593
rect 121 -665 127 -631
rect 161 -665 167 -631
rect 121 -703 167 -665
rect 121 -737 127 -703
rect 161 -737 167 -703
rect 121 -775 167 -737
rect 121 -809 127 -775
rect 161 -809 167 -775
rect 121 -847 167 -809
rect 121 -881 127 -847
rect 161 -881 167 -847
rect 121 -919 167 -881
rect 121 -953 127 -919
rect 161 -953 167 -919
rect 121 -1000 167 -953
<< end >>
